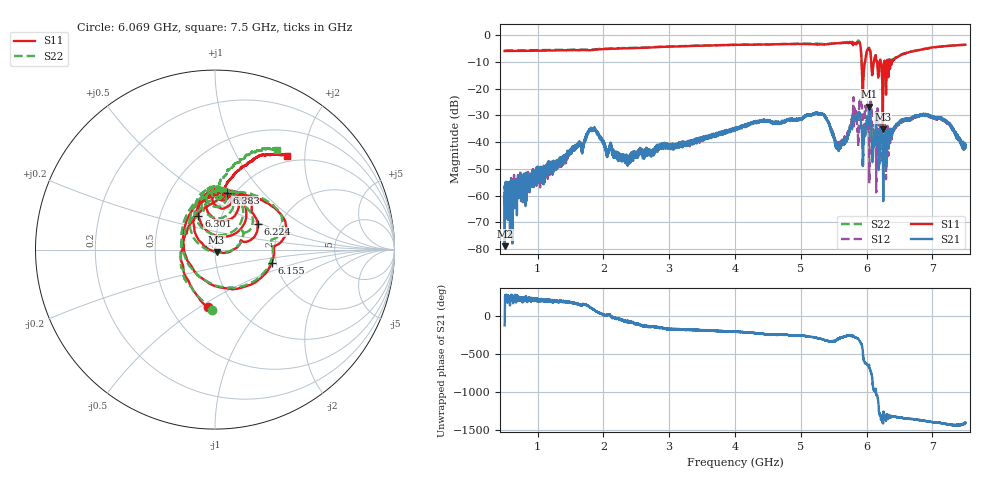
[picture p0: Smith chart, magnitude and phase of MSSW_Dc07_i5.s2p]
!Keysight Technologies,M9374A,MY55442783,A.12.55.05
!Date: Thursday, May 20, 2021 16:07:11
!Correction: S11(Full 2 Port(1,2))
!S21(Full 2 Port(1,2))
!S12(Full 2 Port(1,2))
!S22(Full 2 Port(1,2))
!S2P File: Measurements: S11, S21, S12, S22:
# Hz S  RI  R 50
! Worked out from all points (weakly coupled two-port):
!   7001 points, 500 MHz to 7.5 GHz, reference 50 ohm
!   highest |S21| = -26.75 dB at 6.039 GHz (marker M1); lowest = -78.9 dB at 503 MHz (marker M2)
!   lowest |S11| = -35.3 dB at 6.245 GHz (marker M3), VSWR 1.04, Z = 50.8 - j1.53 ohm
!   |S11| at or under -10 dB: 5.924 GHz to 5.976 GHz (52.46 MHz wide, 0.882 % of centre); 6.158 GHz to 6.197 GHz (38.89 MHz wide, 0.63 % of centre); 6.212 GHz to 6.268 GHz (55.68 MHz wide, 0.892 % of centre) (the widest 3 of 9)
!   |S22| runs from -36.5 to -2.0 dB; largest |S21 - S12| = 0.073
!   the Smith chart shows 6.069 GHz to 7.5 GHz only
!   S11 on the Smith chart (normalised r, x): 6.069 GHz: 0.75, -0.54; 6.155 GHz: 1.89, -0.31; 6.224 GHz: 1.53, +0.48; 6.301 GHz: 0.78, +0.31; 6.383 GHz: 0.92, +0.65; 7.5 GHz: 0.90, +1.65
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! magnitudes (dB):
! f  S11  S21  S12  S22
! 500 MHz  -6.0  -63.1  -58.8  -5.8
! 503 MHz  -6.0  -78.9  -56.4  -5.8
! 1.667 GHz  -5.6  -42.1  -41.9  -5.4
! 1.838 GHz  -5.6  -35.7  -35.4  -5.5
! 2.353 GHz  -5.0  -46.1  -46.4  -4.8
! 2.834 GHz  -4.5  -42.4  -42.0  -4.4
! 4 GHz  -3.7  -35.2  -35.1  -3.7
! 5.167 GHz  -3.4  -29.9  -29.9  -3.2
! 5.359 GHz  -3.5  -30.1  -30.3  -3.4
! 5.571 GHz  -3.1  -42.1  -41.1  -3.1
! 5.87 GHz  -2.6  -30.1  -39.6  -2.1
! 5.952 GHz  -15.4  -43.3  -39.7  -15.2
! 6.039 GHz  -5.0  -26.7  -45.0  -4.9
! 6.069 GHz  -9.8  -34.0  -26.0  -9.4
! 6.155 GHz  -9.8  -35.8  -31.1  -9.9
! 6.224 GHz  -11.1  -37.5  -35.6  -11.1
! 6.245 GHz  -35.3  -42.7  -39.3  -32.9
! 6.301 GHz  -13.5  -44.9  -38.9  -12.9
! 6.334 GHz  -11.9  -40.9  -39.7  -12.0
! 6.383 GHz  -9.8  -35.4  -36.2  -9.8
! 6.916 GHz  -5.1  -29.9  -29.8  -5.1
! 7.5 GHz  -3.6  -42.0  -40.8  -3.7
